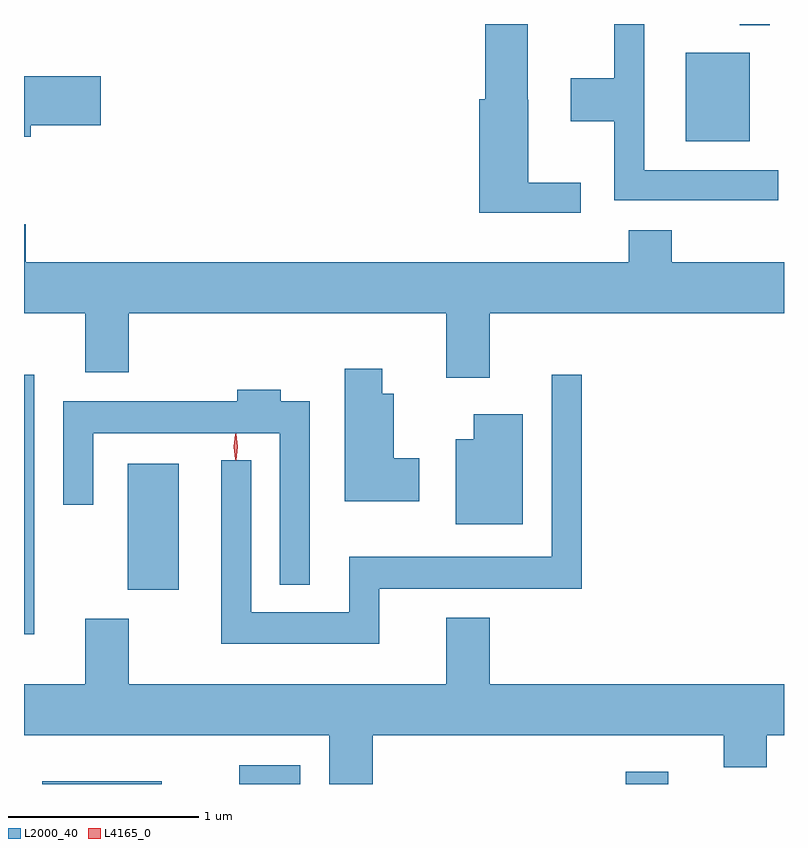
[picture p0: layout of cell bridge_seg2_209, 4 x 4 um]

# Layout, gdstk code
import gdstk
lib = gdstk.Library(unit=1e-6, precision=1e-09)
def R(c, l, rs):  # rectangles x0, y0, x1, y1
    for r in rs: c.add(gdstk.rectangle(r[:2], r[2:], *l))
def P(c, l, *ps):  # polygons
    for p in ps: c.add(gdstk.Polygon(p, *l))
L2000_40 = (2000, 40)
L4165_0 = (4165, 0)

bridge_seg2_209 = lib.new_cell('bridge_seg2_209')
R(bridge_seg2_209, L2000_40, [(544.486,1092.459,545.114,1092.474), (545.523,1092.459,545.844,1092.559), (547.556,1092.459,547.779,1092.524), (544.389,1093.246,544.444,1094.613), (544.936,1093.481,545.204,1094.144), (547.871,1095.841,548.209,1096.309), (548.156,1096.453,548.314,1096.459)])
P(bridge_seg2_209, L2000_40, [(547.318,1095.624),(547.044,1095.624),(547.044,1096.06),(547.039,1096.06),(547.039,1096.459),(546.816,1096.459),(546.816,1096.064),(546.786,1096.064),(546.786,1095.466),(547.318,1095.466)],
  [(548.358,1095.689),(547.654,1095.689),(547.654,1096.459),(547.496,1096.459),(547.496,1096.174),(547.266,1096.174),(547.266,1095.946),(547.496,1095.946),(547.496,1095.531),(548.358,1095.531)],
  [(544.424,1095.926),(544.794,1095.926),(544.794,1096.184),(544.389,1096.184),(544.389,1095.866),(544.424,1095.866)],
  [(546.839,1094.936),(548.389,1094.936),(548.389,1095.204),(547.799,1095.204),(547.799,1095.374),(547.571,1095.374),(547.571,1095.204),(544.399,1095.204),(544.399,1095.404),(544.389,1095.404),(544.389,1094.936),(544.711,1094.936),(544.711,1094.626),(544.939,1094.626),(544.939,1094.936),(546.611,1094.936),(546.611,1094.596),(546.839,1094.596)],
  [(546.469,1094.174),(546.334,1094.174),(546.334,1094.514),(546.274,1094.514),(546.274,1094.644),(546.076,1094.644),(546.076,1093.946),(546.469,1093.946)],
  [(546.259,1093.486),(547.324,1093.486),(547.324,1094.613),(547.166,1094.613),(547.166,1093.654),(546.101,1093.654),(546.101,1093.364),(545.584,1093.364),(545.584,1094.163),(545.426,1094.163),(545.426,1093.196),(546.259,1093.196)],
  [(545.894,1094.474),(545.739,1094.474),(545.739,1094.534),(545.511,1094.534),(545.511,1094.474),(544.596,1094.474),(544.596,1093.928),(544.754,1093.928),(544.754,1094.306),(545.736,1094.306),(545.736,1093.508),(545.894,1093.508)],
  [(547.014,1094.404),(546.756,1094.404),(546.756,1094.274),(546.661,1094.274),(546.661,1093.826),(547.014,1093.826)],
  [(546.224,1092.716),(548.071,1092.716),(548.071,1092.546),(548.299,1092.546),(548.299,1092.716),(548.389,1092.716),(548.389,1092.984),(546.839,1092.984),(546.839,1093.334),(546.611,1093.334),(546.611,1092.984),(544.939,1092.984),(544.939,1093.329),(544.711,1093.329),(544.711,1092.984),(544.389,1092.984),(544.389,1092.716),(545.996,1092.716),(545.996,1092.459),(546.224,1092.459)])
P(bridge_seg2_209, L4165_0, [(545.504,1094.164),(545.495,1094.234),(545.504,1094.302),(545.505,1094.303),(545.505,1094.302),(545.515,1094.234),(545.505,1094.164),(545.505,1094.164)],
  [(545.502,1094.167),(545.502,1094.168),(545.492,1094.234),(545.502,1094.3),(545.502,1094.3),(545.503,1094.3),(545.512,1094.234),(545.503,1094.168)])

lib.write_gds('bridge_seg2_209.gds')
